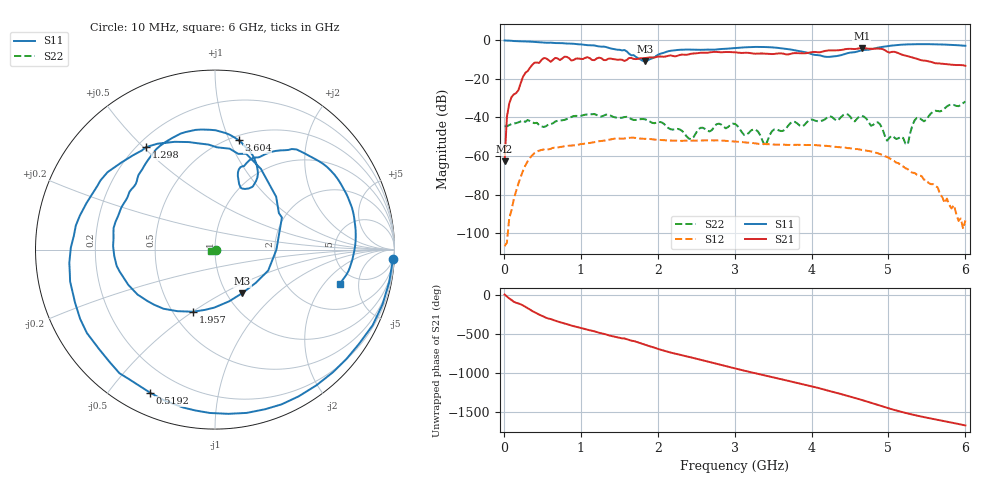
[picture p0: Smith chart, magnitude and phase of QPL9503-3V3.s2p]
!  13.04.2021  19:07:05
! Ref Plane: 0,000 mm
# MHZ S MA R  50
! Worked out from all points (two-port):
!   201 points, 10 MHz to 6 GHz, reference 50 ohm
!   highest |S21| = -3.99 dB at 4.652 GHz (marker M1); lowest = -62.8 dB at 10 MHz (marker M2)
!   |S21| within 3 dB of the highest: 2.431 GHz to 3.431 GHz (1 GHz wide, 34.1 % of centre); 3.724 GHz to 5.148 GHz (1.424 GHz wide, 32.1 % of centre)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
!   lowest |S11| = -10.9 dB at 1.837 GHz (marker M3), VSWR 1.80, Z = 59 - j31.2 ohm
!   |S11| at or under -10 dB: 1.78 GHz to 1.889 GHz (108.9 MHz wide, 5.94 % of centre)
!   |S22| runs from -54.7 to -31.7 dB; largest |S21 - S12| = 0.63
!   S11 on the Smith chart (normalised r, x): 10 MHz: 5, -37; 519.1 MHz: 0.09, -0.64; 1.298 GHz: 0.23, +0.51; 1.957 GHz: 0.63, -0.50; 3.604 GHz: 0.54, +1.08; 6 GHz: 3.71, -2.99
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10  0.9932 -3.0  0.0007221 1.5  4.6e-06 74.0  0.00588 -10.0
39.95  0.9872 -10.6  0.01034 -23.1  5.667e-06 -173.6  0.00589 -26.0
99.85  0.9743 -25.6  0.03374 -68.1  3.987e-05 179.7  0.00676 -56.9
519.15  0.8756 -114.3  0.3476 77.1  0.001479 -3.2  0.00567 150.2
788.7  0.8339 -159.2  0.3761 -9.1  0.001789 -82.2  0.00866 141.2
1028.3  0.7766 166.0  0.3277 -73.7  0.002073 -139.3  0.0114 106.6
1297.85  0.6885 124.0  0.3076 -141.1  0.002497 156.3  0.01119 76.8
1627.3  0.4503 40.8  0.3484 139.0  0.00297 73.0  0.00985 64.6
1836.95  0.2862 -57.9  0.3463 78.3  0.002802 19.9  0.00895 46.5
1956.75  0.3667 -109.3  0.3581 41.5  0.002675 -8.7  0.00709 32.9
2016.65  0.4368 -131.0  0.3816 20.9  0.002628 -21.7  0.00765 26.4
2525.8  0.57 153.5  0.4667 -106.1  0.002515 -129.1  0.00486 45.1
3005  0.6314 124.5  0.4887 135.3  0.002393 121.0  0.00679 18.9
3394.35  0.6705 94.5  0.4516 44.9  0.00205 38.2  0.00184 36.1
3604  0.6238 77.9  0.4585 -2.5  0.001972 -5.2  0.00443 54.3
4023.3  0.4262 59.1  0.5 -100.5  0.001939 -99.3  0.00866 28.7
4352.75  0.3996 70.7  0.5536 175.2  0.001699 -179.6  0.00873 -14.4
4652.25  0.5511 67.5  0.6318 91.6  0.001447 103.9  0.011 -62.5
5011.65  0.7198 50.8  0.4812 -18.8  0.0008778 -0.5  0.00296 177.6
5251.25  0.786 31.9  0.3879 -82.2  0.0004561 -58.6  0.002 -74.9
5371.05  0.7948 23.1  0.3318 -109.4  0.000325 -84.3  0.0098 -85.8
6000  0.7237 -15.4  0.219 124.7  2.141e-05 69.1  0.02602 -159.9
